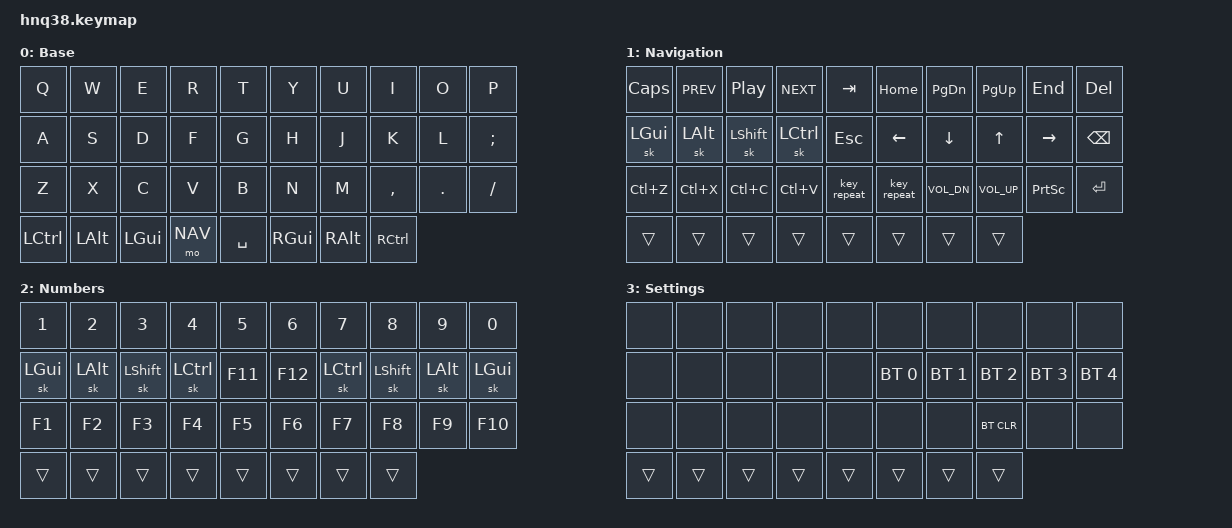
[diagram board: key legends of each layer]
/*
 * Copyright (c) 2023 The ZMK Contributors
 *
 * SPDX-License-Identifier: MIT
 */

#include <behaviors.dtsi>
#include <dt-bindings/zmk/bt.h>
#include <dt-bindings/zmk/keys.h>
#include "keymap_swedish.h"

#define BAS 0
#define NAV 1
#define NUM 2
#define SET 3

/ {
    keymap {
        compatible = "zmk,keymap";

         base {
            display-name = "Base";
            bindings = <
&kp Q       &kp W       &kp E      &kp R      &kp T         &kp Y      &kp U       &kp I          &kp O         &kp P
&kp A       &kp S       &kp D      &kp F      &kp G         &kp H      &kp J       &kp K          &kp L         &kp SEMICOLON
&kp Z       &kp X       &kp C      &kp V      &kp B         &kp N      &kp M       &kp COMMA      &kp PERIOD    &kp FSLH
&kp LCTRL    &kp LALT     &kp LGUI      &mo NAV    &kp SPACE     &kp RGUI   &kp RALT     &kp RCTRL
            >;
        };

        navigation {
            display-name = "Navigation";
            bindings = <
&kp CAPS    &kp C_PREV  &kp C_PP   &kp C_NEXT &kp TAB       &kp HOME    &kp PG_DN    &kp PG_UP     &kp END     &kp DEL
&sk LGUI    &sk LALT    &sk LSHFT  &sk LCTRL  &kp ESC       &kp LEFT    &kp DOWN     &kp UP        &kp RIGHT   &kp BSPC
&kp LC(Z)   &kp LC(X)   &kp LC(C)  &kp LC(V)  &key_repeat   &key_repeat &kp C_VOL_DN &kp C_VOL_UP  &kp PSCRN   &kp RET
&trans        &trans        &trans      &trans             &trans          &trans          &trans              &trans
            >;
        };

        numbers {
            display-name = "Numbers";
            bindings = <
&kp N1      &kp N2       &kp N3    &kp N4       &kp N5       &kp N6      &kp N7      &kp N8      &kp N9      &kp N0
&sk LGUI    &sk LALT     &sk LSHFT &sk LCTRL    &kp F11      &kp F12     &sk LCTRL   &sk LSHFT   &sk LALT    &sk LGUI
&kp F1      &kp F2       &kp F3    &kp F4       &kp F5       &kp F6      &kp F7      &kp F8      &kp F9      &kp F10
&trans        &trans        &trans      &trans             &trans          &trans          &trans              &trans
            >;
        };

        settings {
            display-name = "Settings";
            bindings = <
&none &none &none &none &none &none        &none        &none        &none        &none
&none &none &none &none &none &bt BT_SEL 0 &bt BT_SEL 1 &bt BT_SEL 2 &bt BT_SEL 3 &bt BT_SEL 4
&none           &none           &none &none           &none           &none        &none        &bt BT_CLR   &none        &none
&trans        &trans        &trans      &trans             &trans          &trans          &trans              &trans
            >;
        };
    };
};
